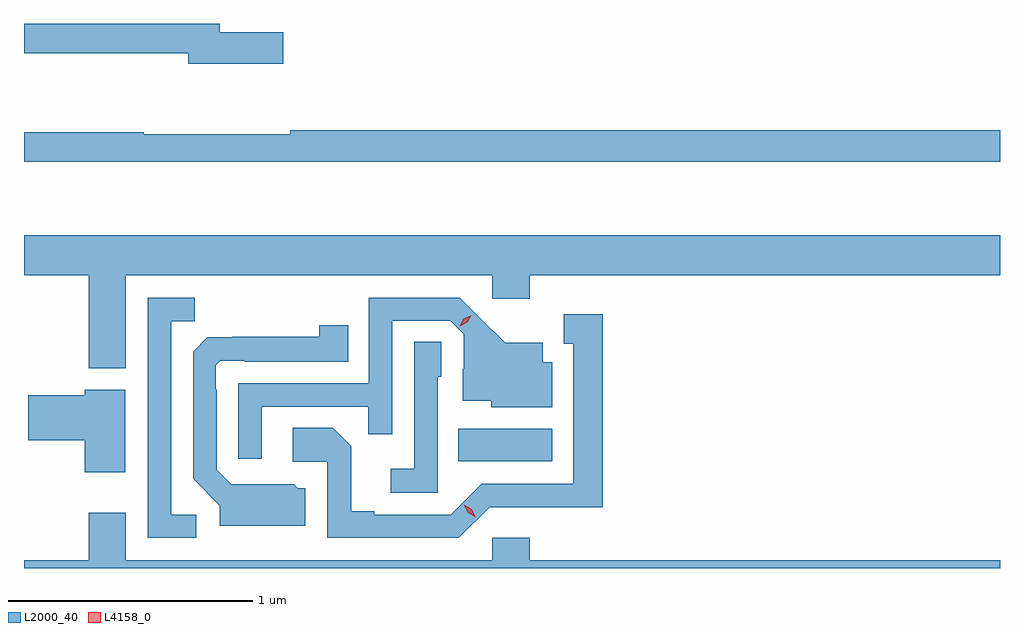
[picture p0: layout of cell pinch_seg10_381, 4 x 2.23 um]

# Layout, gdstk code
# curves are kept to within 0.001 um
import gdstk
lib = gdstk.Library(unit=1e-6, precision=1e-09)
def R(c, l, rs):  # rectangles x0, y0, x1, y1
    for r in rs: c.add(gdstk.rectangle(r[:2], r[2:], *l))
def P(c, l, *ps):  # polygons
    for p in ps: c.add(gdstk.Polygon(p, *l))
L2000_40 = (2000, 40)
L4158_0 = (4158, 0)

pinch_seg10_381 = lib.new_cell('pinch_seg10_381')
R(pinch_seg10_381, L2000_40, [(582.256,1248.938,582.64,1249.072)])
P(pinch_seg10_381, L2000_40, [(581.539,1250.697),(581.278,1250.697),(581.278,1250.731),(580.476,1250.731),(580.476,1250.61),(581.15,1250.61),(581.15,1250.567),(581.539,1250.567)],
  [(584.476,1250.294),(581.567,1250.294),(581.567,1250.279),(580.967,1250.279),(580.967,1250.287),(580.476,1250.287),(580.476,1250.166),(584.476,1250.166)],
  [(580.894,1249.7),(582.396,1249.7),(582.396,1249.605),(582.548,1249.605),(582.548,1249.7),(584.476,1249.7),(584.476,1249.864),(580.476,1249.864),(580.476,1249.7),(580.742,1249.7),(580.742,1249.32),(580.894,1249.32)],
  [(581.451,1249.161),(581.887,1249.161),(581.887,1249.048),(581.985,1249.048),(581.985,1249.515),(582.222,1249.515),(582.279,1249.458),(582.279,1249.316),(582.275,1249.316),(582.275,1249.187),(582.39,1249.187),(582.39,1249.16),(582.64,1249.16),(582.64,1249.345),(582.601,1249.345),(582.601,1249.423),(582.449,1249.423),(582.262,1249.608),(581.889,1249.608),(581.889,1249.257),(581.355,1249.257),(581.355,1248.948),(581.451,1248.948)],
  [(581.182,1248.72),(581.079,1248.72),(581.079,1249.513),(581.175,1249.513),(581.175,1249.608),(580.983,1249.608),(580.983,1248.624),(581.182,1248.624)],
  [(582.384,1248.75),(582.847,1248.749),(582.847,1249.54),(582.689,1249.54),(582.689,1249.419),(582.728,1249.419),(582.728,1248.846),(582.351,1248.846),(582.225,1248.72),(581.911,1248.72),(581.911,1248.733),(581.817,1248.733),(581.817,1249),(581.741,1249.076),(581.577,1249.076),(581.577,1248.936),(581.718,1248.936),(581.718,1248.624),(582.258,1248.624)],
  [(581.629,1248.828),(581.598,1248.828),(581.582,1248.844),(581.325,1248.843),(581.265,1248.903),(581.265,1249.232),(581.262,1249.232),(581.262,1249.332),(581.28,1249.35),(581.38,1249.35),(581.38,1249.347),(581.804,1249.347),(581.804,1249.495),(581.686,1249.495),(581.686,1249.448),(581.228,1249.447),(581.169,1249.388),(581.169,1248.866),(581.279,1248.756),(581.279,1248.674),(581.629,1248.674)],
  [(582.171,1249.284),(582.186,1249.284),(582.186,1249.427),(582.075,1249.427),(582.075,1248.907),(581.979,1248.907),(581.979,1248.81),(582.171,1248.81)],
  [(580.891,1249.231),(580.724,1249.231),(580.724,1249.208),(580.494,1249.208),(580.494,1249.025),(580.724,1249.025),(580.724,1248.894),(580.891,1248.894)],
  [(584.476,1248.532),(582.548,1248.532),(582.548,1248.625),(582.396,1248.625),(582.396,1248.532),(580.894,1248.532),(580.894,1248.727),(580.742,1248.727),(580.742,1248.532),(580.476,1248.532),(580.476,1248.5),(584.476,1248.5)])
P(pinch_seg10_381, L4158_0, [(582.328,1248.709),(582.296,1248.728),(582.279,1248.76),(582.279,1248.76),(582.279,1248.76),(582.311,1248.742),(582.328,1248.709),(582.328,1248.709)],
  [(582.262,1249.492),(582.262,1249.492),(582.279,1249.522),(582.31,1249.537),(582.31,1249.537),(582.31,1249.537),(582.293,1249.507),(582.262,1249.492)])

lib.write_gds('pinch_seg10_381.gds')
